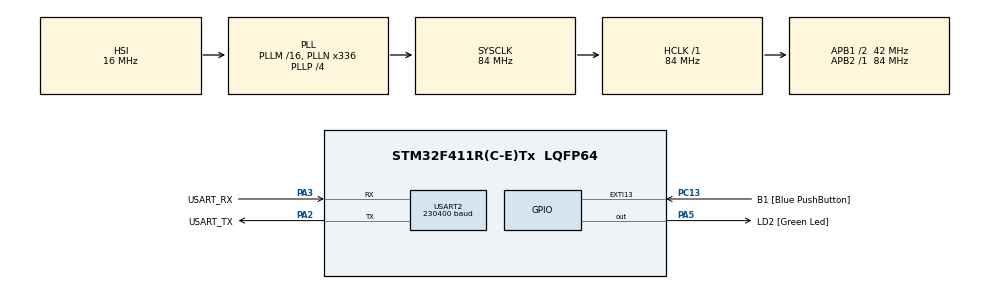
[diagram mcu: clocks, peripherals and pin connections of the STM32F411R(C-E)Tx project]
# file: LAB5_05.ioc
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Dma.Request0=USART2_RX
Dma.Request1=USART2_TX
Dma.USART2_RX.0.Direction=DMA_PERIPH_TO_MEMORY
Dma.USART2_RX.0.FIFOMode=DMA_FIFOMODE_DISABLE
Dma.USART2_RX.0.Instance=DMA1_Stream5
Dma.USART2_RX.0.MemDataAlignment=DMA_MDATAALIGN_BYTE
Dma.USART2_RX.0.MemInc=DMA_MINC_ENABLE
Dma.USART2_RX.0.Mode=DMA_CIRCULAR
Dma.USART2_RX.0.PeriphDataAlignment=DMA_PDATAALIGN_BYTE
Dma.USART2_RX.0.PeriphInc=DMA_PINC_DISABLE
Dma.USART2_RX.0.Priority=DMA_PRIORITY_LOW
Dma.USART2_TX.1.Direction=DMA_MEMORY_TO_PERIPH
Dma.USART2_TX.1.FIFOMode=DMA_FIFOMODE_DISABLE
Dma.USART2_TX.1.Instance=DMA1_Stream6
Dma.USART2_TX.1.MemDataAlignment=DMA_MDATAALIGN_BYTE
Dma.USART2_TX.1.MemInc=DMA_MINC_ENABLE
Dma.USART2_TX.1.Mode=DMA_NORMAL
Dma.USART2_TX.1.PeriphDataAlignment=DMA_PDATAALIGN_BYTE
Dma.USART2_TX.1.PeriphInc=DMA_PINC_DISABLE
Dma.USART2_TX.1.Priority=DMA_PRIORITY_LOW
Mcu.Family=STM32F4
Mcu.Name=STM32F411R(C-E)Tx
Mcu.Package=LQFP64
NVIC.DMA1_Stream5_IRQn=true\:0\:0\:false\:false\:true\:false\:true\:true
NVIC.DMA1_Stream6_IRQn=true\:0\:0\:false\:false\:true\:false\:true\:true
NVIC.PriorityGroup=NVIC_PRIORITYGROUP_0
NVIC.USART2_IRQn=true\:0\:0\:false\:false\:true\:true\:true\:true
PA13.GPIO_Label=TMS
PA13.Mode=Serial_Wire
PA13.Signal=SYS_JTMS-SWDIO
PA14.GPIO_Label=TCK
PA14.Mode=Serial_Wire
PA14.Signal=SYS_JTCK-SWCLK
PA2.GPIO_Label=USART_TX
PA2.Mode=Asynchronous
PA2.Signal=USART2_TX
PA3.GPIO_Label=USART_RX
PA3.Mode=Asynchronous
PA3.Signal=USART2_RX
PA5.GPIO_Label=LD2 [Green Led]
PA5.Signal=GPIO_Output
PB3.GPIO_Label=SWO
PB3.Signal=SYS_JTDO-SWO
PC13-ANTI_TAMP.GPIO_Label=B1 [Blue PushButton]
PC13-ANTI_TAMP.GPIO_ModeDefaultEXTI=GPIO_MODE_IT_FALLING
PC13-ANTI_TAMP.Signal=GPXTI13
PC14-OSC32_IN.Mode=LSE-External-Oscillator
PC14-OSC32_IN.Signal=RCC_OSC32_IN
PC15-OSC32_OUT.Mode=LSE-External-Oscillator
PC15-OSC32_OUT.Signal=RCC_OSC32_OUT
PH0\ -\ OSC_IN.Mode=HSE-External-Clock-Source
PH0\ -\ OSC_IN.Signal=RCC_OSC_IN
PH1\ -\ OSC_OUT.Mode=HSE-External-Clock-Source
PH1\ -\ OSC_OUT.Signal=RCC_OSC_OUT
ProjectManager.HeapSize=0x200
ProjectManager.StackSize=0x400
ProjectManager.TargetToolchain=STM32CubeIDE
RCC.48MHZClocksFreq_Value=84000000
RCC.AHBFreq_Value=84000000
RCC.APB1CLKDivider=RCC_HCLK_DIV2
RCC.APB1Freq_Value=42000000
RCC.APB1TimFreq_Value=84000000
RCC.APB2Freq_Value=84000000
RCC.APB2TimFreq_Value=84000000
RCC.CortexFreq_Value=84000000
RCC.FLatency-AdvancedSettings=FLASH_LATENCY_2
RCC.HCLKFreq_Value=84000000
RCC.HSE_VALUE=8000000
RCC.HSI_VALUE=16000000
RCC.PLLN=336
RCC.PLLP=RCC_PLLP_DIV4
RCC.SYSCLKFreq_VALUE=84000000
RCC.SYSCLKSource=RCC_SYSCLKSOURCE_PLLCLK
RCC.VCOOutputFreq_Value=336000000
USART2.BaudRate=230400
USART2.VirtualMode=VM_ASYNC
board=NUCLEO-F411RE

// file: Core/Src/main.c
/* USER CODE BEGIN Header */
/**
 ******************************************************************************
 * @file           : main.c
 * @brief          : Main program body
 ******************************************************************************
 * @attention
 *
 * Copyright (c) 2023 STMicroelectronics.
 * All rights reserved.
 *
 * This software is licensed under terms that can be found in the LICENSE file
 * in the root directory of this software component.
 * If no LICENSE file comes with this software, it is provided AS-IS.
 *
 ******************************************************************************
 */
/* USER CODE END Header */
#include "main.h"

/* USER CODE BEGIN Includes */
#include "stdio.h"
#include "string.h"
/* USER CODE END Includes */

UART_HandleTypeDef huart2;
DMA_HandleTypeDef hdma_usart2_rx;
DMA_HandleTypeDef hdma_usart2_tx;

/* USER CODE BEGIN PV */
uint8_t RxBuffer[1];
uint8_t LastRx[1];
uint8_t TxBuffer[20];
uint8_t Tx2Buffer[200];
uint8_t State;
int count = 5;

float Hz = 1;
int HzShow = 1;
float HzMs = 0;
/* USER CODE END PV */

void SystemClock_Config(void);
static void MX_GPIO_Init(void);
static void MX_DMA_Init(void);
static void MX_USART2_UART_Init(void);
/* USER CODE BEGIN PFP */
void UARTInterruptConfig();
/* USER CODE END PFP */

int main(void) {

	/* MCU Configuration--------------------------------------------------------*/

	/* Reset of all peripherals, Initializes the Flash interface and the Systick. */
	HAL_Init();

	/* Configure the system clock */
	SystemClock_Config();

	/* Initialize all configured peripherals */
	MX_GPIO_Init();
	MX_DMA_Init();
	MX_USART2_UART_Init();
	/* USER CODE BEGIN 2 */
	UARTInteruptConfig();
	/* USER CODE END 2 */

	/* Infinite loop */
	while (1) {

		/* USER CODE BEGIN 3 */
		switch (State) {
		case 0:
			RxBuffer[1] = '\0';
			Tx2Buffer[200];
			sprintf((char*) Tx2Buffer,
					"\r\nPlease select the Mode: \r\n   Mode Number 1   : LED Controller \r\n   Mode Number 2   : Button Check\r\npress X to return to Main menu\r\n",
					RxBuffer);
			HAL_UART_Transmit_IT(&huart2, Tx2Buffer, strlen((char*) Tx2Buffer));
			State = 1;
		case 1:
			if (RxBuffer[0] == 49) {
				Tx2Buffer[200];
				sprintf((char*) Tx2Buffer,
						"Welcome to LED Controller Mode \r\na : +1Hz\r\ns : -1Hz\r\nx : return to Main menu\r\n",
						RxBuffer);
				HAL_UART_Transmit_IT(&huart2, Tx2Buffer,
						strlen((char*) Tx2Buffer));

				State = 2;
			} else if (RxBuffer[0] == 50) {
				State = 4;
			}
			break;

		case 2:
			if (State == 2) {

				static uint32_t timestamp = 0;
				if (HAL_GetTick() > timestamp) {
					timestamp = HAL_GetTick() + HzMs;
					HAL_GPIO_TogglePin(LD2_GPIO_Port, LD2_Pin);
				}
				if (RxBuffer[0] == 97) {
					Hz = Hz + 1;
					HzShow = Hz;
					sprintf((char*) Tx2Buffer, "Speed LED Light is %d Hz\r\n",
							HzShow);
					HAL_UART_Transmit_IT(&huart2, Tx2Buffer,
							strlen((char*) Tx2Buffer));
					HzMs = (500 / Hz);
					RxBuffer[0] = 0;

				} else if (RxBuffer[0] == 115) {
					if (Hz > 1) {
						Hz = Hz - 1;
						HzShow = Hz;
						sprintf((char*) Tx2Buffer,
								"Speed LED Light is %d Hz\r\n", HzShow);
						HAL_UART_Transmit_IT(&huart2, Tx2Buffer,
								strlen((char*) Tx2Buffer));
						HzMs = (500 / Hz);
						RxBuffer[0] = 0;

					}

					else if (Hz == 1) {
						HzMs = 0;
						HzShow = 0;
						sprintf((char*) Tx2Buffer,
								"Speed LED Light is %d Hz\r\n", HzShow);
						HAL_UART_Transmit_IT(&huart2, Tx2Buffer,
								strlen((char*) Tx2Buffer));
						HAL_GPIO_WritePin(LD2_GPIO_Port, LD2_Pin, RESET);
						RxBuffer[0] = 0;
					}
				}
				if (RxBuffer[0] == 100) {
					sprintf((char*) Tx2Buffer, "LED OFF\r\n", HzShow);
					HAL_UART_Transmit_IT(&huart2, Tx2Buffer,
							strlen((char*) Tx2Buffer));

					RxBuffer[0] = 0;
					State = 5;
				}

				if (RxBuffer[0] == 120) {
					State = 0;
				}
			}
			break;
		case 4:
			if (State == 4) {
				sprintf((char*) Tx2Buffer, "Welcome to Button Check Mode!\r\nPlease Press Button \r\npress X to return to Main menu\r\n", RxBuffer);
				HAL_UART_Transmit_IT(&huart2, Tx2Buffer,
						strlen((char*) Tx2Buffer));
				State =7;}
		case 7:
				if (HAL_GPIO_ReadPin(B1_GPIO_Port, B1_Pin) == 0) {
					sprintf((char*) Tx2Buffer, "Button Press!\r\n", RxBuffer);
					HAL_UART_Transmit_IT(&huart2, Tx2Buffer,
							strlen((char*) Tx2Buffer));
				}
				if (RxBuffer[0] == 120) {
					State = 0;
				}

			break;
		case 5:

			HAL_GPIO_WritePin(LD2_GPIO_Port, LD2_Pin, RESET);
			if (RxBuffer[0] == 100) {
				RxBuffer[0] = 0;
				HAL_GPIO_WritePin(LD2_GPIO_Port, LD2_Pin, SET);
				sprintf((char*) Tx2Buffer, "LED ON\r\n", HzShow);
				HAL_UART_Transmit_IT(&huart2, Tx2Buffer,
						strlen((char*) Tx2Buffer));
				State = 2;
			}
			if (RxBuffer[0] == 120) {
				RxBuffer[0] = 0;
				State = 0;
			}

		}
		/* USER CODE END 3 */
	}
}
void SystemClock_Config(void) {
	RCC_OscInitTypeDef RCC_OscInitStruct = { 0 };
	RCC_ClkInitTypeDef RCC_ClkInitStruct = { 0 };

	/** Configure the main internal regulator output voltage
	 */
	__HAL_RCC_PWR_CLK_ENABLE();
	__HAL_PWR_VOLTAGESCALING_CONFIG(PWR_REGULATOR_VOLTAGE_SCALE1);

	/** Initializes the RCC Oscillators according to the specified parameters
	 * in the RCC_OscInitTypeDef structure.
	 */
	RCC_OscInitStruct.OscillatorType = RCC_OSCILLATORTYPE_HSI;
	RCC_OscInitStruct.HSIState = RCC_HSI_ON;
	RCC_OscInitStruct.HSICalibrationValue = RCC_HSICALIBRATION_DEFAULT;
	RCC_OscInitStruct.PLL.PLLState = RCC_PLL_ON;
	RCC_OscInitStruct.PLL.PLLSource = RCC_PLLSOURCE_HSI;
	RCC_OscInitStruct.PLL.PLLM = 16;
	RCC_OscInitStruct.PLL.PLLN = 336;
	RCC_OscInitStruct.PLL.PLLP = RCC_PLLP_DIV4;
	RCC_OscInitStruct.PLL.PLLQ = 4;
	if (HAL_RCC_OscConfig(&RCC_OscInitStruct) != HAL_OK) {
		Error_Handler();
	}

	/** Initializes the CPU, AHB and APB buses clocks
	 */
	RCC_ClkInitStruct.ClockType = RCC_CLOCKTYPE_HCLK | RCC_CLOCKTYPE_SYSCLK
			| RCC_CLOCKTYPE_PCLK1 | RCC_CLOCKTYPE_PCLK2;
	RCC_ClkInitStruct.SYSCLKSource = RCC_SYSCLKSOURCE_PLLCLK;
	RCC_ClkInitStruct.AHBCLKDivider = RCC_SYSCLK_DIV1;
	RCC_ClkInitStruct.APB1CLKDivider = RCC_HCLK_DIV2;
	RCC_ClkInitStruct.APB2CLKDivider = RCC_HCLK_DIV1;

	if (HAL_RCC_ClockConfig(&RCC_ClkInitStruct, FLASH_LATENCY_2) != HAL_OK) {
		Error_Handler();
	}
}

static void MX_USART2_UART_Init(void) {

	huart2.Instance = USART2;
	huart2.Init.BaudRate = 230400;
	huart2.Init.WordLength = UART_WORDLENGTH_8B;
	huart2.Init.StopBits = UART_STOPBITS_1;
	huart2.Init.Parity = UART_PARITY_NONE;
	huart2.Init.Mode = UART_MODE_TX_RX;
	huart2.Init.HwFlowCtl = UART_HWCONTROL_NONE;
	huart2.Init.OverSampling = UART_OVERSAMPLING_16;
	if (HAL_UART_Init(&huart2) != HAL_OK) {
		Error_Handler();
	}

}

static void MX_DMA_Init(void) {

	/* DMA controller clock enable */
	__HAL_RCC_DMA1_CLK_ENABLE();

	/* DMA interrupt init */
	/* DMA1_Stream5_IRQn interrupt configuration */
	HAL_NVIC_SetPriority(DMA1_Stream5_IRQn, 0, 0);
	HAL_NVIC_EnableIRQ(DMA1_Stream5_IRQn);
	/* DMA1_Stream6_IRQn interrupt configuration */
	HAL_NVIC_SetPriority(DMA1_Stream6_IRQn, 0, 0);
	HAL_NVIC_EnableIRQ(DMA1_Stream6_IRQn);

}

static void MX_GPIO_Init(void) {
	GPIO_InitTypeDef GPIO_InitStruct = { 0 };

	/* GPIO Ports Clock Enable */
	__HAL_RCC_GPIOC_CLK_ENABLE();
	__HAL_RCC_GPIOH_CLK_ENABLE();
	__HAL_RCC_GPIOA_CLK_ENABLE();
	__HAL_RCC_GPIOB_CLK_ENABLE();

	/*Configure GPIO pin Output Level */
	HAL_GPIO_WritePin(LD2_GPIO_Port, LD2_Pin, GPIO_PIN_RESET);

	/*Configure GPIO pin : B1_Pin */
	GPIO_InitStruct.Pin = B1_Pin;
	GPIO_InitStruct.Mode = GPIO_MODE_IT_FALLING;
	GPIO_InitStruct.Pull = GPIO_NOPULL;
	HAL_GPIO_Init(B1_GPIO_Port, &GPIO_InitStruct);

	/*Configure GPIO pin : LD2_Pin */
	GPIO_InitStruct.Pin = LD2_Pin;
	GPIO_InitStruct.Mode = GPIO_MODE_OUTPUT_PP;
	GPIO_InitStruct.Pull = GPIO_NOPULL;
	GPIO_InitStruct.Speed = GPIO_SPEED_FREQ_LOW;
	HAL_GPIO_Init(LD2_GPIO_Port, &GPIO_InitStruct);

}

/* USER CODE BEGIN 4 */
void UARTInteruptConfig() {
	HAL_UART_Receive_IT(&huart2, RxBuffer, 1);
}

void HAL_UART_RxCpltCallback(UART_HandleTypeDef *huart) {
	if (huart == &huart2) {
		RxBuffer[1] = '\0';
		sprintf((char*) TxBuffer, "Received : %s\r\n", RxBuffer);
		HAL_UART_Transmit(&huart2, TxBuffer, strlen((char*) TxBuffer), 100);

		HAL_UART_Receive_IT(&huart2, RxBuffer, 1);
	}
}

/* USER CODE END 4 */

void Error_Handler(void) {
	__disable_irq();
	while (1) {
	}
}
